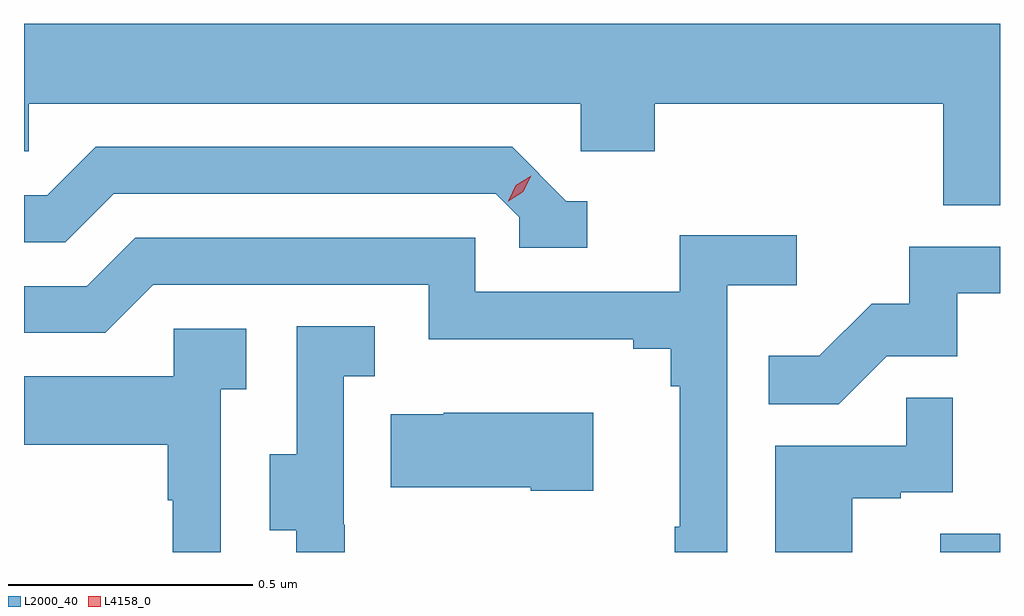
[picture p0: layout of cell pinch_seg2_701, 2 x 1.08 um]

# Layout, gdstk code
import gdstk
lib = gdstk.Library(unit=1e-6, precision=1e-09)
def R(c, l, rs):  # rectangles x0, y0, x1, y1
    for r in rs: c.add(gdstk.rectangle(r[:2], r[2:], *l))
def P(c, l, *ps):  # polygons
    for p in ps: c.add(gdstk.Polygon(p, *l))
L2000_40 = (2000, 40)
L4158_0 = (4158, 0)

pinch_seg2_701 = lib.new_cell('pinch_seg2_701')
R(pinch_seg2_701, L2000_40, [(1092.875,593.436,1092.941,593.437), (1094.753,593.436,1094.875,593.474)])
P(pinch_seg2_701, L2000_40, [(1094.875,594.52),(1092.875,594.52),(1092.875,594.258),(1092.885,594.258),(1092.885,594.356),(1094.016,594.356),(1094.016,594.258),(1094.168,594.258),(1094.168,594.356),(1094.759,594.356),(1094.759,594.148),(1094.875,594.148)],
  [(1094.029,594.156),(1093.986,594.156),(1093.875,594.267),(1093.022,594.267),(1092.923,594.168),(1092.875,594.168),(1092.875,594.072),(1092.96,594.072),(1093.059,594.171),(1093.842,594.171),(1093.89,594.123),(1093.89,594.06),(1094.029,594.06)],
  [(1094.316,593.984),(1094.458,593.984),(1094.458,594.086),(1094.219,594.086),(1094.219,593.97),(1093.8,593.97),(1093.8,594.081),(1093.103,594.081),(1093.004,593.982),(1092.875,593.982),(1092.875,593.886),(1093.041,593.886),(1093.14,593.985),(1093.704,593.985),(1093.704,593.873),(1094.123,593.873),(1094.123,593.854),(1094.2,593.854),(1094.2,593.777),(1094.219,593.777),(1094.219,593.489),(1094.208,593.489),(1094.208,593.436),(1094.316,593.436)],
  [(1094.643,593.838),(1094.787,593.838),(1094.787,593.967),(1094.875,593.967),(1094.875,594.063),(1094.689,594.063),(1094.689,593.946),(1094.612,593.946),(1094.505,593.839),(1094.401,593.839),(1094.401,593.74),(1094.545,593.74)],
  [(1093.532,593.493),(1093.53,593.493),(1093.53,593.797),(1093.594,593.797),(1093.594,593.9),(1093.434,593.9),(1093.434,593.637),(1093.379,593.637),(1093.379,593.482),(1093.433,593.482),(1093.433,593.436),(1093.532,593.436)],
  [(1093.278,593.771),(1093.33,593.771),(1093.33,593.895),(1093.182,593.895),(1093.182,593.797),(1092.875,593.797),(1092.875,593.657),(1093.17,593.657),(1093.17,593.543),(1093.18,593.543),(1093.18,593.436),(1093.278,593.436)],
  [(1094.572,593.547),(1094.672,593.547),(1094.672,593.559),(1094.778,593.559),(1094.778,593.753),(1094.683,593.753),(1094.683,593.655),(1094.414,593.655),(1094.414,593.436),(1094.572,593.436)],
  [(1094.041,593.722),(1093.735,593.722),(1093.735,593.719),(1093.627,593.719),(1093.627,593.57),(1093.913,593.57),(1093.913,593.563),(1094.041,593.563)])
P(pinch_seg2_701, L4158_0, [(1093.867,594.156),(1093.867,594.156),(1093.883,594.189),(1093.914,594.208),(1093.914,594.208),(1093.914,594.208),(1093.898,594.175),(1093.867,594.156)])

lib.write_gds('pinch_seg2_701.gds')
